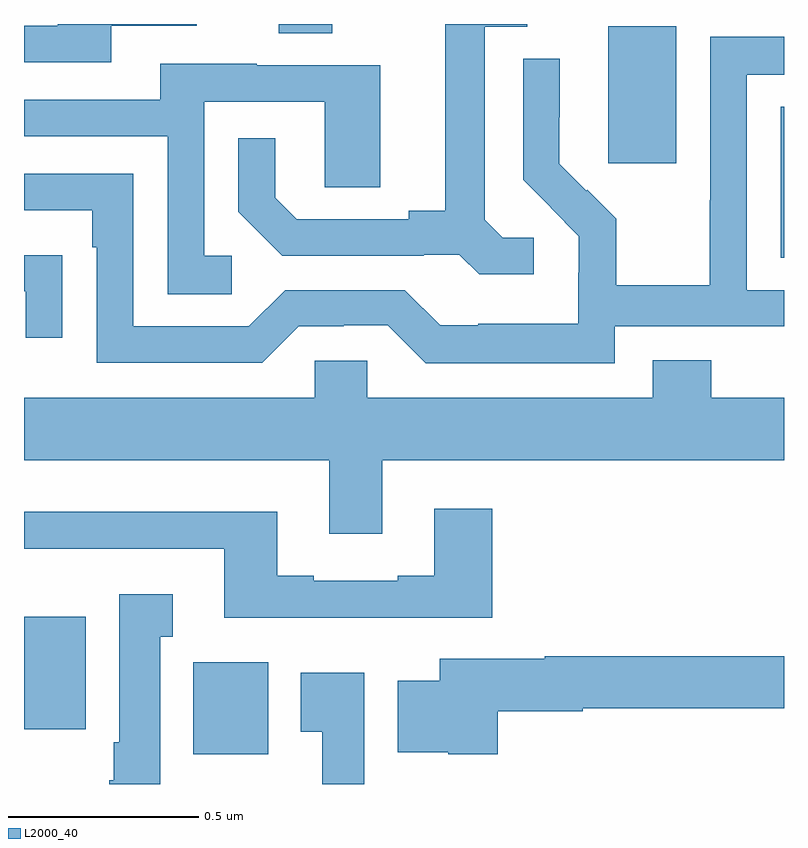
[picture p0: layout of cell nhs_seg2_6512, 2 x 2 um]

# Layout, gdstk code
import gdstk
lib = gdstk.Library(unit=1e-6, precision=1e-09)
def R(c, l, rs):  # rectangles x0, y0, x1, y1
    for r in rs: c.add(gdstk.rectangle(r[:2], r[2:], *l))
def P(c, l, *ps):  # polygons
    for p in ps: c.add(gdstk.Polygon(p, *l))
L2000_40 = (2000, 40)

nhs_seg2_6512 = lib.new_cell('nhs_seg2_6512')
R(nhs_seg2_6512, L2000_40, [(192.446,630.878,192.643,631.12), (192,630.944,192.163,631.24), (193.991,632.185,194,632.582), (193.538,632.433,193.717,632.794), (192.671,632.776,192.811,632.8)])
P(nhs_seg2_6512, L2000_40, [(193.342,632.238),(193.26,632.238),(193.213,632.285),(193.213,632.793),(193.324,632.793),(193.324,632.8),(193.109,632.8),(193.109,632.309),(193.013,632.309),(193.013,632.286),(192.718,632.286),(192.661,632.343),(192.661,632.5),(192.564,632.5),(192.564,632.306),(192.68,632.19),(193.052,632.19),(193.052,632.193),(193.146,632.193),(193.198,632.141),(193.342,632.141)],
  [(192.229,632.796),(192.454,632.796),(192.454,632.8),(192.089,632.8),(192.089,632.796),(192,632.796),(192,632.7),(192.229,632.7)],
  [(193.554,632.004),(194,632.004),(194,632.1),(193.902,632.1),(193.902,632.667),(194,632.667),(194,632.766),(193.806,632.766),(193.806,632.336),(193.804,632.336),(193.804,632.113),(193.559,632.113),(193.559,632.287),(193.482,632.364),(193.479,632.361),(193.409,632.432),(193.409,632.554),(193.41,632.554),(193.41,632.708),(193.314,632.708),(193.314,632.39),(193.387,632.317),(193.386,632.316),(193.46,632.242),(193.46,632.145),(193.458,632.145),(193.458,632.011),(193.195,632.011),(193.195,632.007),(193.095,632.007),(193.002,632.1),(192.687,632.1),(192.591,632.004),(192.288,632.004),(192.288,632.406),(192,632.406),(192,632.31),(192.179,632.31),(192.179,632.213),(192.192,632.213),(192.192,631.908),(192.627,631.908),(192.723,632.004),(192.842,632.004),(192.842,632.007),(192.957,632.007),(193.057,631.907),(193.554,631.907)],
  [(192.547,632.19),(192.474,632.19),(192.474,632.595),(192.792,632.595),(192.792,632.371),(192.937,632.371),(192.937,632.691),(192.613,632.691),(192.613,632.695),(192.359,632.695),(192.359,632.601),(192,632.601),(192,632.505),(192.378,632.505),(192.378,632.089),(192.547,632.089)],
  [(192.101,632.192),(192,632.192),(192,632.097),(192.005,632.097),(192.005,631.974),(192.101,631.974)],
  [(192.943,631.652),(194,631.652),(194,631.816),(193.808,631.816),(193.808,631.915),(193.655,631.915),(193.655,631.816),(192.903,631.816),(192.903,631.914),(192.765,631.914),(192.765,631.816),(192,631.816),(192,631.652),(192.803,631.652),(192.803,631.458),(192.943,631.458)],
  [(193.232,631.525),(193.079,631.525),(193.079,631.348),(192.983,631.348),(192.983,631.335),(192.763,631.335),(192.763,631.348),(192.667,631.348),(192.667,631.516),(192,631.516),(192,631.419),(192.527,631.419),(192.527,631.238),(193.232,631.238)],
  [(192.358,631.187),(192.391,631.187),(192.391,631.3),(192.251,631.3),(192.251,630.91),(192.236,630.91),(192.236,630.81),(192.224,630.81),(192.224,630.8),(192.358,630.8)],
  [(193.247,630.992),(193.47,630.992),(193.47,631),(194,631),(194,631.136),(193.37,631.136),(193.37,631.129),(193.094,631.129),(193.094,631.072),(192.983,631.072),(192.983,630.884),(193.116,630.884),(193.116,630.878),(193.247,630.878)],
  [(192.895,631.093),(192.728,631.093),(192.728,630.937),(192.785,630.937),(192.785,630.8),(192.895,630.8)])

lib.write_gds('nhs_seg2_6512.gds')
